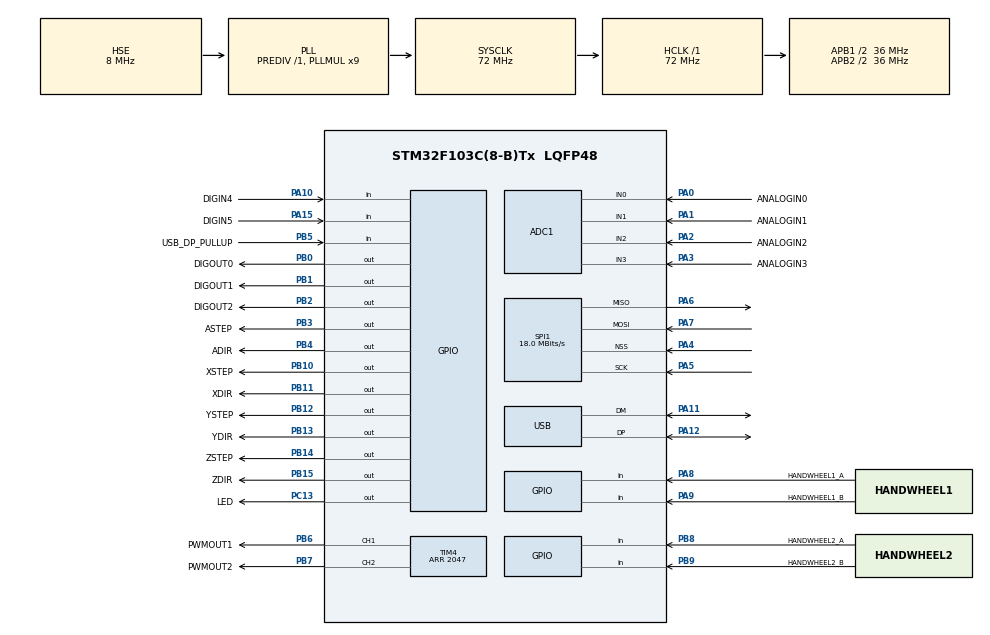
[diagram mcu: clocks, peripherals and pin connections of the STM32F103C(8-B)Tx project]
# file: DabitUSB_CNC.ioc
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ADC1.Channel-0\#ChannelRegularConversion=ADC_CHANNEL_0
ADC1.Channel-1\#ChannelRegularConversion=ADC_CHANNEL_1
ADC1.ContinuousConvMode=ENABLE
ADC1.NbrOfConversion=2
ADC1.NbrOfConversionFlag=1
ADC1.Rank-0\#ChannelRegularConversion=1
ADC1.Rank-1\#ChannelRegularConversion=2
ADC1.SamplingTime-0\#ChannelRegularConversion=ADC_SAMPLETIME_71CYCLES_5
ADC1.SamplingTime-1\#ChannelRegularConversion=ADC_SAMPLETIME_71CYCLES_5
ADC1.master=1
Dma.ADC1.0.Direction=DMA_PERIPH_TO_MEMORY
Dma.ADC1.0.Instance=DMA1_Channel1
Dma.ADC1.0.MemDataAlignment=DMA_MDATAALIGN_HALFWORD
Dma.ADC1.0.MemInc=DMA_MINC_ENABLE
Dma.ADC1.0.Mode=DMA_CIRCULAR
Dma.ADC1.0.PeriphDataAlignment=DMA_PDATAALIGN_HALFWORD
Dma.ADC1.0.PeriphInc=DMA_PINC_DISABLE
Dma.ADC1.0.Priority=DMA_PRIORITY_LOW
Dma.Request0=ADC1
Mcu.Family=STM32F1
Mcu.Name=STM32F103C(8-B)Tx
Mcu.Package=LQFP48
NVIC.DMA1_Channel1_IRQn=true\:0\:0\:false\:false\:true
NVIC.PriorityGroup=NVIC_PRIORITYGROUP_4
NVIC.TIM2_IRQn=true\:0\:0\:false\:false\:true
NVIC.USB_HP_CAN1_TX_IRQn=true\:0\:0\:false\:false\:true
NVIC.USB_LP_CAN1_RX0_IRQn=true\:0\:0\:false\:false\:true
PA0-WKUP.GPIO_Label=ANALOGIN0
PA0-WKUP.Signal=ADCx_IN0
PA1.GPIO_Label=ANALOGIN1
PA1.Signal=ADCx_IN1
PA10.GPIO_Label=DIGIN4
PA10.Signal=GPIO_Input
PA11.Mode=Device
PA11.Signal=USB_DM
PA12.Mode=Device
PA12.Signal=USB_DP
PA13.Mode=Serial_Wire
PA13.Signal=SYS_JTMS-SWDIO
PA14.Mode=Serial_Wire
PA14.Signal=SYS_JTCK-SWCLK
PA15.GPIO_Label=DIGIN5
PA15.Signal=GPIO_Input
PA2.GPIO_Label=ANALOGIN2
PA2.Signal=ADCx_IN2
PA3.GPIO_Label=ANALOGIN3
PA3.Signal=ADCx_IN3
PA4.Mode=NSS_Signal_Hard_Input
PA4.Signal=SPI1_NSS
PA5.Mode=Full_Duplex_Slave
PA5.Signal=SPI1_SCK
PA6.Mode=Full_Duplex_Slave
PA6.Signal=SPI1_MISO
PA7.Mode=Full_Duplex_Slave
PA7.Signal=SPI1_MOSI
PA8.GPIO_Label=HANDWHEEL1_A
PA8.Signal=GPIO_Input
PA9.GPIO_Label=HANDWHEEL1_B
PA9.Signal=GPIO_Input
PB0.GPIO_Label=DIGOUT0
PB0.Signal=GPIO_Output
PB1.GPIO_Label=DIGOUT1
PB1.Signal=GPIO_Output
PB10.GPIO_Label=XSTEP
PB10.Signal=GPIO_Output
PB11.GPIO_Label=XDIR
PB11.Signal=GPIO_Output
PB12.GPIO_Label=YSTEP
PB12.Signal=GPIO_Output
PB13.GPIO_Label=YDIR
PB13.Signal=GPIO_Output
PB14.GPIO_Label=ZSTEP
PB14.Signal=GPIO_Output
PB15.GPIO_Label=ZDIR
PB15.Signal=GPIO_Output
PB2.GPIO_Label=DIGOUT2
PB2.Signal=GPIO_Output
PB3.GPIO_Label=ASTEP
PB3.Signal=GPIO_Output
PB4.GPIO_Label=ADIR
PB4.Signal=GPIO_Output
PB5.GPIO_Label=USB_DP_PULLUP
PB5.Signal=GPIO_Input
PB6.GPIO_Label=PWMOUT1
PB6.Signal=S_TIM4_CH1
PB7.GPIO_Label=PWMOUT2
PB7.Signal=S_TIM4_CH2
PB8.GPIO_Label=HANDWHEEL2_A
PB8.Signal=GPIO_Input
PB9.GPIO_Label=HANDWHEEL2_B
PB9.Signal=GPIO_Input
PC13-TAMPER-RTC.GPIO_Label=LED
PC13-TAMPER-RTC.Signal=GPIO_Output
PC14-OSC32_IN.Mode=LSE-External-Oscillator
PC14-OSC32_IN.Signal=RCC_OSC32_IN
PC15-OSC32_OUT.Mode=LSE-External-Oscillator
PC15-OSC32_OUT.Signal=RCC_OSC32_OUT
PD0-OSC_IN.Mode=HSE-External-Oscillator
PD0-OSC_IN.Signal=RCC_OSC_IN
PD1-OSC_OUT.Mode=HSE-External-Oscillator
PD1-OSC_OUT.Signal=RCC_OSC_OUT
ProjectManager.HeapSize=0x400
ProjectManager.StackSize=0x400
ProjectManager.TargetToolchain=SW4STM32
RCC.ADCPresc=RCC_ADCPCLK2_DIV4
RCC.AHBFreq_Value=72000000
RCC.APB1CLKDivider=RCC_HCLK_DIV2
RCC.APB1Freq_Value=36000000
RCC.APB1TimFreq_Value=72000000
RCC.APB2CLKDivider=RCC_HCLK_DIV2
RCC.APB2Freq_Value=36000000
RCC.APB2TimFreq_Value=72000000
RCC.HCLKFreq_Value=72000000
RCC.HSIState=RCC_HSI_ON
RCC.PLLMUL=RCC_PLL_MUL9
RCC.RTCClockSelection=RCC_RTCCLKSOURCE_LSE
RCC.SYSCLKFreq_VALUE=72000000
RCC.SYSCLKSource=RCC_SYSCLKSOURCE_PLLCLK
RCC.USBFreq_Value=48000000
RCC.USBPrescaler=RCC_USBCLKSOURCE_PLL_DIV1_5
SH.ADCx_IN0.0=ADC1_IN0,IN0
SH.ADCx_IN1.0=ADC1_IN1,IN1
SH.ADCx_IN2.0=ADC1_IN2,IN2
SH.ADCx_IN3.0=ADC1_IN3,IN3
SH.S_TIM4_CH1.0=TIM4_CH1,PWM Generation1 CH1
SH.S_TIM4_CH2.0=TIM4_CH2,PWM Generation2 CH2
SPI1.CalculateBaudRate=18.0 MBits/s
SPI1.VirtualNSS=VM_NSSHARD
SPI1.VirtualType=VM_SLAVE
TIM2.Period=1440
TIM2.Prescaler=1
TIM4.Channel-PWM\ Generation2\ CH2=TIM_CHANNEL_2
TIM4.Period=2047
USB.ep0_mps=DEP0CTL_MPS_8
USB_DEVICE.PID_CUSTOMHID_FS=22353 
USB_DEVICE.PRODUCT_STRING_CUSTOMHID_FS=LinuxCNC USB controller
USB_DEVICE.USBD_CUSTOMHID_OUTREPORT_BUF_SIZE=64
USB_DEVICE.USBD_CUSTOM_HID_REPORT_DESC_SIZE=33
USB_DEVICE.USBD_DEBUG_LEVEL=0
USB_DEVICE.USBD_HandleTypeDef=hUsbDeviceFS
USB_DEVICE.USBD_SELF_POWERED=0
USB_DEVICE.VirtualMode=CustomHid
USB_DEVICE.VirtualModeFS=Custom_Hid_FS
VP_ADC1_Vref_Input.Mode=IN-Vrefint
VP_RTC_No_RTC_Output.Mode=RTC_OUT_NO
VP_TIM2_VS_ClockSourceINT.Mode=Internal
VP_TIM4_VS_ClockSourceINT.Mode=Internal
VP_USB_DEVICE_VS_USB_DEVICE_CUSTOM_HID_FS.Mode=CUSTOM_HID_FS
board=DabitUSB_CNC

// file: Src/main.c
/**
  ******************************************************************************
  * File Name          : main.c
  * Description        : Main program body
  ******************************************************************************
  *
  * COPYRIGHT(c) 2016 STMicroelectronics
  *
  * Redistribution and use in source and binary forms, with or without modification,
  * are permitted provided that the following conditions are met:
  *   1. Redistributions of source code must retain the above copyright notice,
  *      this list of conditions and the following disclaimer.
  *   2. Redistributions in binary form must reproduce the above copyright notice,
  *      this list of conditions and the following disclaimer in the documentation
  *      and/or other materials provided with the distribution.
  *   3. Neither the name of STMicroelectronics nor the names of its contributors
  *      may be used to endorse or promote products derived from this software
  *      without specific prior written permission.
  *
  * THIS SOFTWARE IS PROVIDED BY THE COPYRIGHT HOLDERS AND CONTRIBUTORS "AS IS"
  * AND ANY EXPRESS OR IMPLIED WARRANTIES, INCLUDING, BUT NOT LIMITED TO, THE
  * IMPLIED WARRANTIES OF MERCHANTABILITY AND FITNESS FOR A PARTICULAR PURPOSE ARE
  * DISCLAIMED. IN NO EVENT SHALL THE COPYRIGHT HOLDER OR CONTRIBUTORS BE LIABLE
  * FOR ANY DIRECT, INDIRECT, INCIDENTAL, SPECIAL, EXEMPLARY, OR CONSEQUENTIAL
  * DAMAGES (INCLUDING, BUT NOT LIMITED TO, PROCUREMENT OF SUBSTITUTE GOODS OR
  * SERVICES; LOSS OF USE, DATA, OR PROFITS; OR BUSINESS INTERRUPTION) HOWEVER
  * CAUSED AND ON ANY THEORY OF LIABILITY, WHETHER IN CONTRACT, STRICT LIABILITY,
  * OR TORT (INCLUDING NEGLIGENCE OR OTHERWISE) ARISING IN ANY WAY OUT OF THE USE
  * OF THIS SOFTWARE, EVEN IF ADVISED OF THE POSSIBILITY OF SUCH DAMAGE.
  *
  ******************************************************************************
  */
#include "stm32f1xx_hal.h"
#include "usb_device.h"
#include "usbd_custom_hid_if.h"
#include "commpackets.h"
#include "housekeeping.h"

ADC_HandleTypeDef hadc1;
DMA_HandleTypeDef hdma_adc1;

RTC_HandleTypeDef hrtc;

SPI_HandleTypeDef hspi1;
DMA_HandleTypeDef hdma_spi1_rx;
DMA_HandleTypeDef hdma_spi1_tx;

TIM_HandleTypeDef htim2;
TIM_HandleTypeDef htim4;

/* USER CODE BEGIN PV */
/* Private variables ---------------------------------------------------------*/
extern USBD_HandleTypeDef hUsbDeviceFS;
/* USER CODE END PV */

void SystemClock_Config(void);
void Error_Handler(void);
static void MX_GPIO_Init(void);
static void MX_DMA_Init(void);
static void MX_RTC_Init(void);
static void MX_ADC1_Init(void);
static void MX_TIM2_Init(void);
static void MX_TIM4_Init(void);
static void MX_SPI1_Init(void);

void HAL_TIM_MspPostInit(TIM_HandleTypeDef *htim);

/* USER CODE BEGIN PFP */
/* Private function prototypes -----------------------------------------------*/

volatile uint16_t ADCresults[NR_ADC_CHANNELS];	/* ADC result buffer, filled in with DMA */
volatile sJointAdmin ja[NR_JOINTS];		/* Housekeeping data for the joints */
volatile uint64_t sender_timestamp=0;	/* Last host packet timestamp */
volatile bool bGotData = false;
volatile int32_t CommTimeoutCtr;		/* Communications timeout downcounter */
uint8_t USBTxBuf[64];
/* USER CODE END PFP */

/* USER CODE BEGIN 0 */

/* Timer callback. This is where we run our pulse engine.
 * Note that for efficiency we might unroll the loops later */
void HAL_TIM_PeriodElapsedCallback (TIM_HandleTypeDef *htim)
{
	int i;
	sJointAdmin *pja;
	static int pidnr=0;
	static bool IsRunning = false;
	int32_t poserr;
	int64_t joint_velocity, controllerout=0;
#if 1
	/* Handle running state and comm timeout */
	if (!IsRunning) {
		for (i=0;i<NR_JOINTS;i++) {
			// Set STEP pin to '0'
			XSTEP_GPIO_Port->BSRR = ja[i].step_pin<<16;
		}
		if (CommTimeoutCtr > 0) {
			/* We were not running, but we did receive a joint command.
			 * Make the actual position equal to the commanded one and reset the integrator and accumulator
			 * so we start fresh. Then change state to running.
			 * Note: Doing this on a per-joint basis would be an improvement */
			for (i=0;i<NR_JOINTS;i++) {
				pja = &ja[i];
				pja->actual_position = pja->commanded_position>>8;	// Note: commanded is 24.8 fixed pt
				pja->integrator = 0;
				pja->accumulator = 0;
				pja->prev_joint_velocity = 0;
				pja->sg_max_acceleration = TICKS_PER_SEC<<9;	/* Dirty hack; with no acceleration everything stands still */
				pja->sg_maxvelincrease = (int64_t)(pja->sg_max_acceleration / (int32_t)((double)TICKS_PER_SEC/(double)NR_JOINTS));
				pja->sg_maxvelincrease *= ACCUMULATOR_MAX;
			}
			IsRunning = true;
			CommTimeoutCtr--;
		}
		// No need to process the PID/NCO part of this ISR
		return;
	} else {
		/* We are running. Decrement timeout counter. If this reaches 0, stop running */
		if (CommTimeoutCtr > 0) {
			CommTimeoutCtr--;
		} else {
			IsRunning = false;
			return;
		}
	}
#endif
	/* We only run one joint's PI controller per period. Determine which one */
	if (++pidnr >= NR_JOINTS) {
		pidnr=0;
	}
	pja = &ja[pidnr];
	/* Update commanded velocity with acceleration and position with commanded velocity */
	#define FRAC_UPDATERATE (int64_t)(TICKS_PER_SEC*65536.0/NR_JOINTS)
	pja->commanded_velocity += (int32_t)((((int64_t)pja->commanded_acceleration) << 16) / FRAC_UPDATERATE);
	pja->commanded_position += (int32_t)((((int64_t)pja->commanded_velocity) << 16) / FRAC_UPDATERATE);
	/* Update joint acceleration limit if we are commanded a larger acceleration than before */
	if (abs(pja->commanded_acceleration+(pja->commanded_acceleration>>2)) > pja->sg_max_acceleration) {
		pja->sg_max_acceleration = abs(pja->commanded_acceleration+(pja->commanded_acceleration>>2));
		pja->sg_maxvelincrease = (int64_t)(pja->sg_max_acceleration / (int32_t)((double)TICKS_PER_SEC/(double)NR_JOINTS));
		pja->sg_maxvelincrease *= ACCUMULATOR_MAX;

	}
	/* Run PI */
	poserr = pja->commanded_position - (pja->actual_position<<8);	// Note: commanded position is in 24.8 fixedpt, actual position is not
	if (abs(poserr) <= (2<<8)) {
		controllerout = 0;
		joint_velocity = 0;
		pja->integrator = 0;
	} else {
		pja->integrator += poserr * I_COEFF;
		if (pja->integrator > I_LIMIT)
			pja->integrator = I_LIMIT;
		if (pja->integrator < -I_LIMIT)
			pja->integrator = -I_LIMIT;
		controllerout = (int64_t)poserr * P_COEFF;
		controllerout += (int64_t)pja->integrator;
		controllerout >>= 8;

		/* convert commanded velocity to the correct accumulator increment.
		 * Use this as baseline velocity, and add controller output.
		 * Note: since both velocity and controller output have 8 fractional bits, we do not have to shift these
		 */

	/*joint_velocity = ( \
					         ((((int64_t)ACCUMULATOR_MAX * (int64_t)pja->commanded_velocity)<<0) / (int64_t)TICKS_PER_SEC) +
					         (((int64_t)controllerout) << 0) \
							 ) >> 8;*/

	 joint_velocity = ACCUMULATOR_MAX;
	 joint_velocity *= (int64_t)pja->commanded_velocity + controllerout;
	 joint_velocity /= TICKS_PER_SEC;
	 joint_velocity>>=8;
	}
	/* Obey maximum acceleration limit */
#if 0
	if (abs(joint_velocity - pja->prev_joint_velocity) > pja->sg_maxvelincrease) {
		if (joint_velocity > pja->prev_joint_velocity) {
			joint_velocity = pja->prev_joint_velocity + pja->sg_maxvelincrease;
		} else {
			joint_velocity = pja->prev_joint_velocity - pja->sg_maxvelincrease;
		}
	}
#endif
	pja->prev_joint_velocity = joint_velocity;
	/* Clip to maximum range */
	if (joint_velocity > ACCUMULATOR_MAX) {
		joint_velocity = ACCUMULATOR_MAX;
	} else if (joint_velocity < -ACCUMULATOR_MAX) {
		joint_velocity = -ACCUMULATOR_MAX;
	}
	pja->acc_increment = (int32_t)joint_velocity;
	/* Run stepgens */
	for (i=0;i<NR_JOINTS;i++) {
		pja = &ja[i];
		// Update accumulator, and see if we must generate a step pulse
		pja->accumulator += pja->acc_increment;
		if (pja->accumulator >= ACCUMULATOR_MAX) {
			pja->accumulator -= ACCUMULATOR_MAX;
			if (!(pja->StepPhase = !pja->StepPhase)) {
				// Step phase is '0' and we overflowed the accumulator.
				// Change step to inactive and direction to 'up'.
				XSTEP_GPIO_Port->BSRR = (pja->step_pin << 16);
				XSTEP_GPIO_Port->BSRR = pja->dir_pin;
			} else {
				// Step phase is '1': generate the step pulse and increment our position
				XSTEP_GPIO_Port->BSRR = pja->step_pin;
				pja->actual_position++;
			}
		} else if (pja->accumulator <= 0) {
			pja->accumulator += ACCUMULATOR_MAX;
			if (!(pja->StepPhase = !pja->StepPhase)) {
				// Step phase is '0' and we underflowed the accumulator.
				// Change step to inactive and direction to 'down'.
				XSTEP_GPIO_Port->BSRR = (pja->step_pin << 16);
				XSTEP_GPIO_Port->BSRR = (pja->dir_pin << 16);
			} else {
				// Step phase is '1': generate the step pulse and decrement our position
				XSTEP_GPIO_Port->BSRR = pja->step_pin;
				pja->actual_position--;
			}
		}
	}
}

/* ADC conversion complete */
/*void HAL_ADC_ConvCpltCallback ( ADC_HandleTypeDef *hadc) {
	//HAL_GPIO_WritePin(LED_GPIO_Port, LED_Pin, 0);
}*/

/* USER CODE END 0 */

int main(void)
{

  /* USER CODE BEGIN 1 */
	GPIO_InitTypeDef GPIO_InitStruct;
	int i;
	uint32_t onevolt, scale5v;
	#pragma pack(push,1)
	struct reportback {
		sPkt_DaBitUSB_M2H_v1 m2h;
		sPkt_Endofcommand eoc;
	} reportback;
	#pragma pack(pop)
	reportback.eoc.id=PKT_ENDOFCOMMAND;
	reportback.eoc.len=sizeof(sPkt_Endofcommand);
	reportback.m2h.id=PKT_DABITUSB_M2H_V1;
	reportback.m2h.len=sizeof(sPkt_DaBitUSB_M2H_v1);
	CommTimeoutCtr = 0;
  /* USER CODE END 1 */

  /* MCU Configuration----------------------------------------------------------*/

	/* Reset of all peripherals, Initializes the Flash interface and the Systick. */
  HAL_Init();

  /* Configure the system clock */
  SystemClock_Config();

  /* Initialize all configured peripherals */
  MX_GPIO_Init();
  MX_DMA_Init();
  MX_USB_DEVICE_Init();
  MX_RTC_Init();
  MX_ADC1_Init();
  MX_TIM2_Init();
  MX_TIM4_Init();
  MX_SPI1_Init();

  /* USER CODE BEGIN 2 */
  // Initialise joint data structures
  for (i=0;i<NR_JOINTS;i++) {
	  memset ((void *)&ja[i], 0, sizeof (sJointAdmin));
  }
  ja[0].step_pin = XSTEP_Pin; ja[0].dir_pin=XDIR_Pin;
  ja[1].step_pin = YSTEP_Pin; ja[1].dir_pin=YDIR_Pin;
  ja[2].step_pin = ZSTEP_Pin; ja[2].dir_pin=ZDIR_Pin;
  ja[3].step_pin = ASTEP_Pin; ja[2].dir_pin=ADIR_Pin;
  // reset flag
  bGotData = false;

  // Enable USB discovery by pulling DP+ high.
  GPIO_InitStruct.Pin = USB_DP_PULLUP_Pin;
  GPIO_InitStruct.Mode = GPIO_MODE_OUTPUT_PP;
  GPIO_InitStruct.Speed = GPIO_SPEED_FREQ_LOW;
  HAL_GPIO_WritePin(USB_DP_PULLUP_GPIO_Port, USB_DP_PULLUP_Pin, GPIO_PIN_SET);
  HAL_GPIO_Init(USB_DP_PULLUP_GPIO_Port, &GPIO_InitStruct);

  // Start pulsegen timer
  HAL_TIM_Base_Start_IT(&htim2);

  // Start PWM
  HAL_TIM_Base_Start_IT(&htim4);
  HAL_TIM_PWM_Start_IT(&htim4,TIM_CHANNEL_1);
  HAL_TIM_PWM_Start_IT(&htim4,TIM_CHANNEL_2);

  // Start ADC
  HAL_ADC_Start_DMA(&hadc1, (uint16_t *)ADCresults, 5);

  /* USER CODE END 2 */

  /* Infinite loop */
  while (1)
  {

  /* USER CODE BEGIN 3 */
	  // Wait until we received data. Then setup a return transfer.
#if 1
	  while (!bGotData);
	  bGotData = false;

	  for (i=0;i<NR_JOINTS;i++) {
		reportback.m2h.position[i] = ja[i].actual_position;
	  }
	  reportback.m2h.digin = (HAL_GPIO_ReadPin(HANDWHEEL1_A_GPIO_Port, HANDWHEEL1_A_Pin) == GPIO_PIN_SET) ? 1 : 0 |
			  	  	  	  	 (HAL_GPIO_ReadPin(HANDWHEEL1_B_GPIO_Port, HANDWHEEL1_B_Pin) == GPIO_PIN_SET) ? 2 : 0 |
			  	  	  	  	 (HAL_GPIO_ReadPin(HANDWHEEL2_A_GPIO_Port, HANDWHEEL2_A_Pin) == GPIO_PIN_SET) ? 4 : 0 |
			  	  	  	  	 (HAL_GPIO_ReadPin(HANDWHEEL2_B_GPIO_Port, HANDWHEEL2_B_Pin) == GPIO_PIN_SET) ? 8 : 0 |
			  	  	  	  	 (HAL_GPIO_ReadPin(DIGIN4_GPIO_Port, DIGIN4_Pin) == GPIO_PIN_SET) ? 16 : 0 |
			  	  	  	  	 (HAL_GPIO_ReadPin(DIGIN4_GPIO_Port, DIGIN5_Pin) == GPIO_PIN_SET) ? 32 : 0;
	  // Analog inputs. ADCResults[4] contains a sample of the internal Vref, which is usually 1,2V.
	  // Calculate scale such that 5V equals 65536.0 in 16.16 fixed point
	  scale5v = (uint32_t)0xffff0000 / ((((uint32_t)ADCresults[4])<<16) / (uint32_t)(1.2*65536.0));
	  for (i=0;i<4;i++) {
		  reportback.m2h.analogin[i]=((int32_t)ADCresults[i] * scale5v)>>16;
	  }
	  // Todo: handwheel
	  for (i=0;i<3;i++) {
	  	  reportback.m2h.handwheel_count[i]=0;
	  }

	  memcpy (USBTxBuf, &reportback, sizeof (reportback));
	  USBD_CUSTOM_HID_SendReport(&hUsbDeviceFS, USBTxBuf, 64);
#endif
  }
  /* USER CODE END 3 */

}
/** System Clock Configuration
*/
void SystemClock_Config(void)
{

  RCC_OscInitTypeDef RCC_OscInitStruct;
  RCC_ClkInitTypeDef RCC_ClkInitStruct;
  RCC_PeriphCLKInitTypeDef PeriphClkInit;

  RCC_OscInitStruct.OscillatorType = RCC_OSCILLATORTYPE_HSE|RCC_OSCILLATORTYPE_LSE;
  RCC_OscInitStruct.HSEState = RCC_HSE_ON;
  RCC_OscInitStruct.HSEPredivValue = RCC_HSE_PREDIV_DIV1;
  RCC_OscInitStruct.LSEState = RCC_LSE_ON;
  RCC_OscInitStruct.PLL.PLLState = RCC_PLL_ON;
  RCC_OscInitStruct.PLL.PLLSource = RCC_PLLSOURCE_HSE;
  RCC_OscInitStruct.PLL.PLLMUL = RCC_PLL_MUL9;
  if (HAL_RCC_OscConfig(&RCC_OscInitStruct) != HAL_OK)
  {
    Error_Handler();
  }

  RCC_ClkInitStruct.ClockType = RCC_CLOCKTYPE_HCLK|RCC_CLOCKTYPE_SYSCLK
                              |RCC_CLOCKTYPE_PCLK1|RCC_CLOCKTYPE_PCLK2;
  RCC_ClkInitStruct.SYSCLKSource = RCC_SYSCLKSOURCE_PLLCLK;
  RCC_ClkInitStruct.AHBCLKDivider = RCC_SYSCLK_DIV1;
  RCC_ClkInitStruct.APB1CLKDivider = RCC_HCLK_DIV2;
  RCC_ClkInitStruct.APB2CLKDivider = RCC_HCLK_DIV2;
  if (HAL_RCC_ClockConfig(&RCC_ClkInitStruct, FLASH_LATENCY_2) != HAL_OK)
  {
    Error_Handler();
  }

  PeriphClkInit.PeriphClockSelection = RCC_PERIPHCLK_RTC|RCC_PERIPHCLK_ADC
                              |RCC_PERIPHCLK_USB;
  PeriphClkInit.RTCClockSelection = RCC_RTCCLKSOURCE_LSE;
  PeriphClkInit.AdcClockSelection = RCC_ADCPCLK2_DIV4;
  PeriphClkInit.UsbClockSelection = RCC_USBCLKSOURCE_PLL_DIV1_5;
  if (HAL_RCCEx_PeriphCLKConfig(&PeriphClkInit) != HAL_OK)
  {
    Error_Handler();
  }

  HAL_SYSTICK_Config(HAL_RCC_GetHCLKFreq()/1000);

  HAL_SYSTICK_CLKSourceConfig(SYSTICK_CLKSOURCE_HCLK);

  /* SysTick_IRQn interrupt configuration */
  HAL_NVIC_SetPriority(SysTick_IRQn, 0, 0);
}

/* ADC1 init function */
static void MX_ADC1_Init(void)
{

  ADC_ChannelConfTypeDef sConfig;

    /**Common config
    */
  hadc1.Instance = ADC1;
  hadc1.Init.ScanConvMode = ADC_SCAN_ENABLE;
  hadc1.Init.ContinuousConvMode = ENABLE;
  hadc1.Init.DiscontinuousConvMode = DISABLE;
  hadc1.Init.ExternalTrigConv = ADC_SOFTWARE_START;
  hadc1.Init.DataAlign = ADC_DATAALIGN_RIGHT;
  hadc1.Init.NbrOfConversion = 5;
  if (HAL_ADC_Init(&hadc1) != HAL_OK)
  {
    Error_Handler();
  }

    /**Configure Regular Channel
    */
  sConfig.Channel = ADC_CHANNEL_0;
  sConfig.Rank = 1;
  sConfig.SamplingTime = ADC_SAMPLETIME_239CYCLES_5;
  if (HAL_ADC_ConfigChannel(&hadc1, &sConfig) != HAL_OK)
  {
    Error_Handler();
  }

    /**Configure Regular Channel
    */
  sConfig.Channel = ADC_CHANNEL_1;
  sConfig.Rank = 2;
  if (HAL_ADC_ConfigChannel(&hadc1, &sConfig) != HAL_OK)
  {
    Error_Handler();
  }

    /**Configure Regular Channel
    */
  sConfig.Channel = ADC_CHANNEL_2;
  sConfig.Rank = 3;
  if (HAL_ADC_ConfigChannel(&hadc1, &sConfig) != HAL_OK)
  {
    Error_Handler();
  }

    /**Configure Regular Channel
    */
  sConfig.Channel = ADC_CHANNEL_3;
  sConfig.Rank = 4;
  if (HAL_ADC_ConfigChannel(&hadc1, &sConfig) != HAL_OK)
  {
    Error_Handler();
  }

    /**Configure Regular Channel
    */
  sConfig.Channel = ADC_CHANNEL_VREFINT;
  sConfig.Rank = 5;
  sConfig.SamplingTime = ADC_SAMPLETIME_239CYCLES_5;
  if (HAL_ADC_ConfigChannel(&hadc1, &sConfig) != HAL_OK)
  {
    Error_Handler();
  }

}

/* RTC init function */
static void MX_RTC_Init(void)
{

  RTC_TimeTypeDef sTime;
  RTC_DateTypeDef DateToUpdate;

    /**Initialize RTC and set the Time and Date
    */
  hrtc.Instance = RTC;
  hrtc.Init.AsynchPrediv = RTC_AUTO_1_SECOND;
  hrtc.Init.OutPut = RTC_OUTPUTSOURCE_NONE;
  if (HAL_RTC_Init(&hrtc) != HAL_OK)
  {
    Error_Handler();
  }

  sTime.Hours = 0x1;
  sTime.Minutes = 0x0;
  sTime.Seconds = 0x0;

  if (HAL_RTC_SetTime(&hrtc, &sTime, RTC_FORMAT_BCD) != HAL_OK)
  {
    Error_Handler();
  }

  DateToUpdate.WeekDay = RTC_WEEKDAY_MONDAY;
  DateToUpdate.Month = RTC_MONTH_JANUARY;
  DateToUpdate.Date = 0x1;
  DateToUpdate.Year = 0x0;

  if (HAL_RTC_SetDate(&hrtc, &DateToUpdate, RTC_FORMAT_BCD) != HAL_OK)
  {
    Error_Handler();
  }

}

/* SPI1 init function */
static void MX_SPI1_Init(void)
{

  hspi1.Instance = SPI1;
  hspi1.Init.Mode = SPI_MODE_SLAVE;
  hspi1.Init.Direction = SPI_DIRECTION_2LINES;
  hspi1.Init.DataSize = SPI_DATASIZE_8BIT;
  hspi1.Init.CLKPolarity = SPI_POLARITY_LOW;
  hspi1.Init.CLKPhase = SPI_PHASE_1EDGE;
  hspi1.Init.NSS = SPI_NSS_HARD_INPUT;
  hspi1.Init.BaudRatePrescaler = SPI_BAUDRATEPRESCALER_2;
  hspi1.Init.FirstBit = SPI_FIRSTBIT_MSB;
  hspi1.Init.TIMode = SPI_TIMODE_DISABLE;
  hspi1.Init.CRCCalculation = SPI_CRCCALCULATION_DISABLE;
  hspi1.Init.CRCPolynomial = 10;
  if (HAL_SPI_Init(&hspi1) != HAL_OK)
  {
    Error_Handler();
  }

}

/* TIM2 init function */
static void MX_TIM2_Init(void)
{

  TIM_ClockConfigTypeDef sClockSourceConfig;
  TIM_MasterConfigTypeDef sMasterConfig;

  htim2.Instance = TIM2;
  htim2.Init.Prescaler = 1;
  htim2.Init.CounterMode = TIM_COUNTERMODE_UP;
  htim2.Init.Period = (18000000 / TICKS_PER_SEC) - 1;
  //htim2.Init.Period = 719;		// IRQ rate = 50kHz
  //htim2.Init.Period = 599;		// IRQ rate = 60kHz
  htim2.Init.ClockDivision = TIM_CLOCKDIVISION_DIV1;
  if (HAL_TIM_Base_Init(&htim2) != HAL_OK)
  {
    Error_Handler();
  }

  sClockSourceConfig.ClockSource = TIM_CLOCKSOURCE_INTERNAL;
  if (HAL_TIM_ConfigClockSource(&htim2, &sClockSourceConfig) != HAL_OK)
  {
    Error_Handler();
  }

  sMasterConfig.MasterOutputTrigger = TIM_TRGO_RESET;
  sMasterConfig.MasterSlaveMode = TIM_MASTERSLAVEMODE_DISABLE;
  if (HAL_TIMEx_MasterConfigSynchronization(&htim2, &sMasterConfig) != HAL_OK)
  {
    Error_Handler();
  }

}

/* TIM4 init function */
static void MX_TIM4_Init(void)
{

  TIM_ClockConfigTypeDef sClockSourceConfig;
  TIM_MasterConfigTypeDef sMasterConfig;
  TIM_OC_InitTypeDef sConfigOC;

  htim4.Instance = TIM4;
  htim4.Init.Prescaler = 0;
  htim4.Init.CounterMode = TIM_COUNTERMODE_UP;
  htim4.Init.Period = 2047;
  htim4.Init.ClockDivision = TIM_CLOCKDIVISION_DIV1;
  if (HAL_TIM_Base_Init(&htim4) != HAL_OK)
  {
    Error_Handler();
  }

  sClockSourceConfig.ClockSource = TIM_CLOCKSOURCE_INTERNAL;
  if (HAL_TIM_ConfigClockSource(&htim4, &sClockSourceConfig) != HAL_OK)
  {
    Error_Handler();
  }

  if (HAL_TIM_PWM_Init(&htim4) != HAL_OK)
  {
    Error_Handler();
  }

  sMasterConfig.MasterOutputTrigger = TIM_TRGO_RESET;
  sMasterConfig.MasterSlaveMode = TIM_MASTERSLAVEMODE_DISABLE;
  if (HAL_TIMEx_MasterConfigSynchronization(&htim4, &sMasterConfig) != HAL_OK)
  {
    Error_Handler();
  }

  sConfigOC.OCMode = TIM_OCMODE_PWM1;
  sConfigOC.Pulse = 0;
  sConfigOC.OCPolarity = TIM_OCPOLARITY_HIGH;
  sConfigOC.OCFastMode = TIM_OCFAST_DISABLE;
  if (HAL_TIM_PWM_ConfigChannel(&htim4, &sConfigOC, TIM_CHANNEL_1) != HAL_OK)
  {
    Error_Handler();
  }

  if (HAL_TIM_PWM_ConfigChannel(&htim4, &sConfigOC, TIM_CHANNEL_2) != HAL_OK)
  {
    Error_Handler();
  }

  HAL_TIM_MspPostInit(&htim4);

}

static void MX_DMA_Init(void)
{
  /* DMA controller clock enable */
  __HAL_RCC_DMA1_CLK_ENABLE();

  /* DMA interrupt init */
  /* DMA1_Channel1_IRQn interrupt configuration */
  HAL_NVIC_SetPriority(DMA1_Channel1_IRQn, 0, 0);
  HAL_NVIC_EnableIRQ(DMA1_Channel1_IRQn);
  /* DMA1_Channel2_IRQn interrupt configuration */
  HAL_NVIC_SetPriority(DMA1_Channel2_IRQn, 0, 0);
  HAL_NVIC_EnableIRQ(DMA1_Channel2_IRQn);
  /* DMA1_Channel3_IRQn interrupt configuration */
  HAL_NVIC_SetPriority(DMA1_Channel3_IRQn, 0, 0);
  HAL_NVIC_EnableIRQ(DMA1_Channel3_IRQn);

}

/** Configure pins as
        * Analog
        * Input
        * Output
        * EVENT_OUT
        * EXTI
*/
static void MX_GPIO_Init(void)
{

  GPIO_InitTypeDef GPIO_InitStruct;

  /* GPIO Ports Clock Enable */
  __HAL_RCC_GPIOC_CLK_ENABLE();
  __HAL_RCC_GPIOD_CLK_ENABLE();
  __HAL_RCC_GPIOA_CLK_ENABLE();
  __HAL_RCC_GPIOB_CLK_ENABLE();

  /*Configure GPIO pin Output Level */
  HAL_GPIO_WritePin(LED_GPIO_Port, LED_Pin, GPIO_PIN_RESET);

  /*Configure GPIO pin Output Level */
  HAL_GPIO_WritePin(GPIOB, DIGOUT0_Pin|DIGOUT1_Pin|DIGOUT2_Pin|XSTEP_Pin
                          |XDIR_Pin|YSTEP_Pin|YDIR_Pin|ZSTEP_Pin
                          |ZDIR_Pin|ASTEP_Pin|ADIR_Pin, GPIO_PIN_RESET);

  /*Configure GPIO pin : LED_Pin */
  GPIO_InitStruct.Pin = LED_Pin;
  GPIO_InitStruct.Mode = GPIO_MODE_OUTPUT_PP;
  GPIO_InitStruct.Speed = GPIO_SPEED_FREQ_LOW;
  HAL_GPIO_Init(LED_GPIO_Port, &GPIO_InitStruct);

  /*Configure GPIO pins : DIGOUT0_Pin DIGOUT1_Pin DIGOUT2_Pin XSTEP_Pin
                           XDIR_Pin YSTEP_Pin YDIR_Pin ZSTEP_Pin
                           ZDIR_Pin ASTEP_Pin ADIR_Pin */
  GPIO_InitStruct.Pin = DIGOUT0_Pin|DIGOUT1_Pin|DIGOUT2_Pin|XSTEP_Pin
                          |XDIR_Pin|YSTEP_Pin|YDIR_Pin|ZSTEP_Pin
                          |ZDIR_Pin|ASTEP_Pin|ADIR_Pin;
  GPIO_InitStruct.Mode = GPIO_MODE_OUTPUT_PP;
  GPIO_InitStruct.Speed = GPIO_SPEED_FREQ_LOW;
  HAL_GPIO_Init(GPIOB, &GPIO_InitStruct);

  /*Configure GPIO pins : HANDWHEEL1_A_Pin HANDWHEEL1_B_Pin DIGIN4_Pin DIGIN5_Pin */
  GPIO_InitStruct.Pin = HANDWHEEL1_A_Pin|HANDWHEEL1_B_Pin|DIGIN4_Pin|DIGIN5_Pin;
  GPIO_InitStruct.Mode = GPIO_MODE_INPUT;
  GPIO_InitStruct.Pull = GPIO_PULLDOWN;
  HAL_GPIO_Init(GPIOA, &GPIO_InitStruct);

  /*Configure GPIO pin : USB_DP_PULLUP_Pin */
  GPIO_InitStruct.Pin = USB_DP_PULLUP_Pin;
  GPIO_InitStruct.Mode = GPIO_MODE_INPUT;
  GPIO_InitStruct.Pull = GPIO_NOPULL;
  HAL_GPIO_Init(USB_DP_PULLUP_GPIO_Port, &GPIO_InitStruct);

  /*Configure GPIO pins : HANDWHEEL2_A_Pin HANDWHEEL2_B_Pin */
  GPIO_InitStruct.Pin = HANDWHEEL2_A_Pin|HANDWHEEL2_B_Pin;
  GPIO_InitStruct.Mode = GPIO_MODE_INPUT;
  GPIO_InitStruct.Pull = GPIO_PULLDOWN;
  HAL_GPIO_Init(GPIOB, &GPIO_InitStruct);

}

void Error_Handler(void)
{
  while(1)
  {
  }
}

/************************ (C) COPYRIGHT STMicroelectronics *****END OF FILE****/
